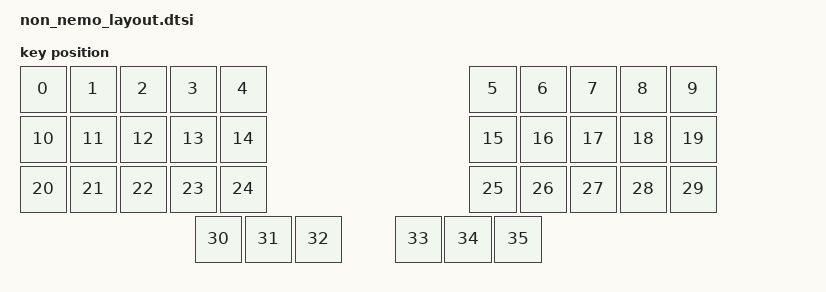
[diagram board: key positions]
#include <physical_layouts.dtsi>

/ {
    physical_layout0: physical_layout_0 {
        compatible = "zmk,physical-layout";
        display-name = "Default Layout";
        transform = <&default_transform>;

        keys  //                     w   h    x    y     rot    rx    ry
            = <&key_physical_attrs 100 100    0    0       0     0     0>
            , <&key_physical_attrs 100 100  100    0       0     0     0>
            , <&key_physical_attrs 100 100  200    0       0     0     0>
            , <&key_physical_attrs 100 100  300    0       0     0     0>
            , <&key_physical_attrs 100 100  400    0       0     0     0>
            , <&key_physical_attrs 100 100  900    0       0     0     0>
            , <&key_physical_attrs 100 100 1000    0       0     0     0>
            , <&key_physical_attrs 100 100 1100    0       0     0     0>
            , <&key_physical_attrs 100 100 1200    0       0     0     0>
            , <&key_physical_attrs 100 100 1300    0       0     0     0>

            , <&key_physical_attrs 100 100    0  100       0     0     0>
            , <&key_physical_attrs 100 100  100  100       0     0     0>
            , <&key_physical_attrs 100 100  200  100       0     0     0>
            , <&key_physical_attrs 100 100  300  100       0     0     0>
            , <&key_physical_attrs 100 100  400  100       0     0     0>
            , <&key_physical_attrs 100 100  900  100       0     0     0>
            , <&key_physical_attrs 100 100 1000  100       0     0     0>
            , <&key_physical_attrs 100 100 1100  100       0     0     0>
            , <&key_physical_attrs 100 100 1200  100       0     0     0>
            , <&key_physical_attrs 100 100 1300  100       0     0     0>
            
            , <&key_physical_attrs 100 100    0  200       0     0     0>
            , <&key_physical_attrs 100 100  100  200       0     0     0>
            , <&key_physical_attrs 100 100  200  200       0     0     0>
            , <&key_physical_attrs 100 100  300  200       0     0     0>
            , <&key_physical_attrs 100 100  400  200       0     0     0>
            , <&key_physical_attrs 100 100  900  200       0     0     0>
            , <&key_physical_attrs 100 100 1000  200       0     0     0>
            , <&key_physical_attrs 100 100 1100  200       0     0     0>
            , <&key_physical_attrs 100 100 1200  200       0     0     0>
            , <&key_physical_attrs 100 100 1300  200       0     0     0>
            
            , <&key_physical_attrs 100 100  350  300       0     0     0>
            , <&key_physical_attrs 100 100  450  300       0     0     0>
            , <&key_physical_attrs 100 100  550  300       0     0     0>
            , <&key_physical_attrs 100 100  750  300       0     0     0>
            , <&key_physical_attrs 100 100  850  300       0     0     0>
            , <&key_physical_attrs 100 100  950  300       0     0     0> 
        ;
    };
};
